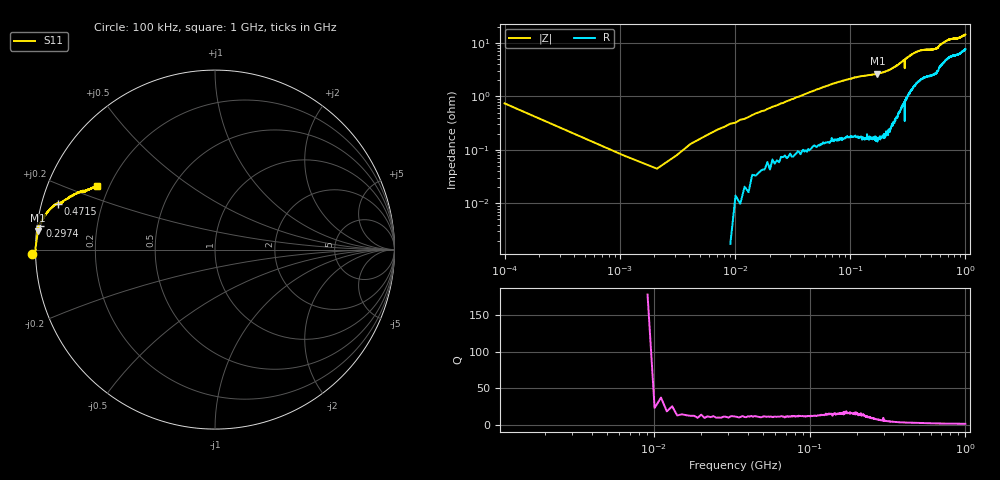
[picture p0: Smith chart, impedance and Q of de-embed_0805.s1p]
! Touchstone file generated by RF Tool Suite
# Hz S RI R 50
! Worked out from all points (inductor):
!   1000 points, 100 kHz to 1 GHz, reference 50 ohm
!   read as one part to ground: L = 5.31 nH near 5.105 MHz
!   highest Q = 16.7 at 172.3 MHz (marker M1), where L = 2.46 nH
!   S11 on the Smith chart (normalised r, x): 100 kHz: -0.01, -0.01; 297.4 MHz: 0.01, +0.07; 471.5 MHz: 0.05, +0.14; 1 GHz: 0.15, +0.24
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100000  -1.019 -0.023
6105405  -1.001 0.00814
9108108  -0.9999 0.0124
4.714234e7  -0.9942 0.0499
8.117297e7  -0.9906 0.0747
1.252126e8  -0.9888 0.0943
1.72255e8  -0.9886 0.1058
2.062856e8  -0.9846 0.1174
2.503252e8  -0.9733 0.1446
2.913622e8  -0.9543 0.181
2.923631e8  -0.9544 0.1803
2.973676e8  -0.9775 0.132
3.023721e8  -0.9473 0.1887
3.03373e8  -0.9488 0.1891
3.364027e8  -0.9254 0.2194
3.754378e8  -0.9011 0.242
4.154739e8  -0.8851 0.2529
4.715243e8  -0.8747 0.2544
5.005504e8  -0.8714 0.255
5.616054e8  -0.8594 0.2594
5.796216e8  -0.8474 0.2671
6.006405e8  -0.8178 0.2864
6.256631e8  -0.8038 0.2969
7.007306e8  -0.7552 0.3204
7.507757e8  -0.737 0.3271
8.198378e8  -0.7287 0.3248
8.758883e8  -0.7153 0.33
1e9  -0.6599 0.3527
